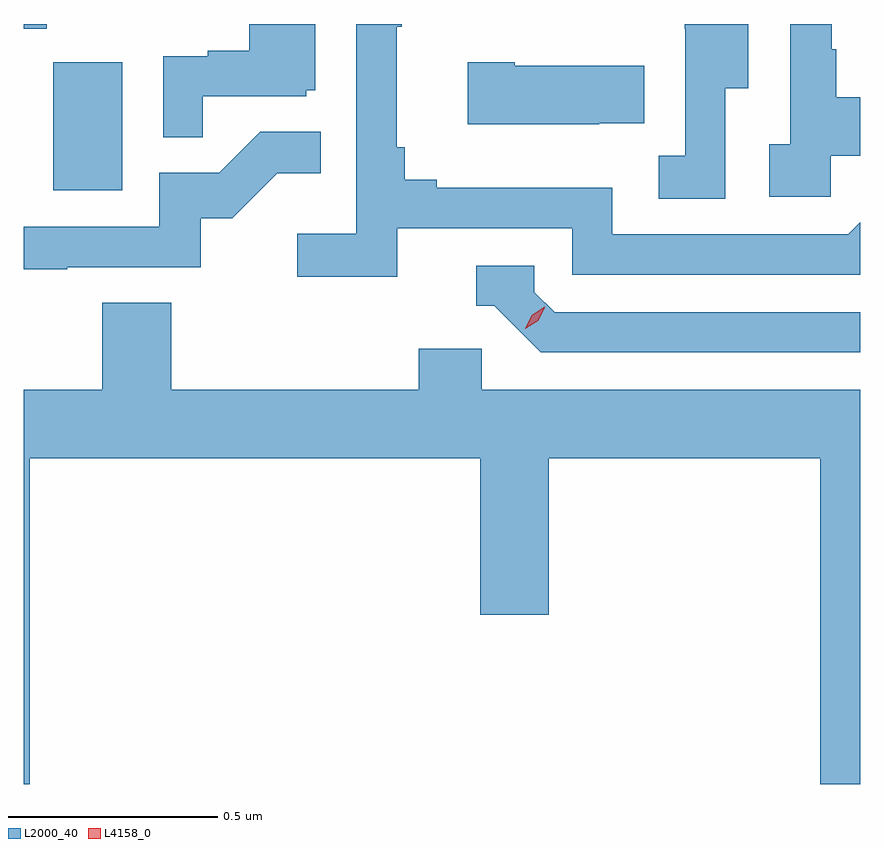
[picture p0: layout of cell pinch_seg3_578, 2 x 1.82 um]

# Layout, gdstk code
import gdstk
lib = gdstk.Library(unit=1e-6, precision=1e-09)
def R(c, l, rs):  # rectangles x0, y0, x1, y1
    for r in rs: c.add(gdstk.rectangle(r[:2], r[2:], *l))
def P(c, l, *ps):  # polygons
    for p in ps: c.add(gdstk.Polygon(p, *l))
L2000_40 = (2000, 40)
L4158_0 = (4158, 0)

pinch_seg3_578 = lib.new_cell('pinch_seg3_578')
R(pinch_seg3_578, L2000_40, [(1087.064,696.228,1087.228,696.535), (1086.993,696.615,1087.048,696.626)])
P(pinch_seg3_578, L2000_40, [(1087.421,696.453),(1087.668,696.453),(1087.668,696.468),(1087.69,696.468),(1087.69,696.626),(1087.532,696.626),(1087.532,696.562),(1087.433,696.562),(1087.433,696.549),(1087.326,696.549),(1087.326,696.355),(1087.421,696.355)],
  [(1088.922,696.311),(1088.993,696.311),(1088.993,696.451),(1088.935,696.451),(1088.935,696.566),(1088.925,696.566),(1088.925,696.626),(1088.826,696.626),(1088.826,696.338),(1088.775,696.338),(1088.775,696.213),(1088.922,696.213)],
  [(1087.886,696.138),(1088.304,696.138),(1088.304,696.027),(1088.993,696.027),(1088.993,696.152),(1088.964,696.123),(1088.4,696.123),(1088.4,696.235),(1087.981,696.235),(1087.981,696.254),(1087.904,696.254),(1087.904,696.331),(1087.885,696.331),(1087.885,696.619),(1087.897,696.619),(1087.897,696.626),(1087.788,696.626),(1087.788,696.124),(1087.647,696.124),(1087.647,696.022),(1087.886,696.022)],
  [(1088.67,696.472),(1088.725,696.472),(1088.725,696.626),(1088.573,696.626),(1088.573,696.615),(1088.574,696.615),(1088.574,696.311),(1088.511,696.311),(1088.511,696.208),(1088.67,696.208)],
  [(1088.369,696.389),(1088.477,696.389),(1088.477,696.526),(1088.167,696.526),(1088.167,696.534),(1088.055,696.534),(1088.055,696.386),(1088.369,696.386)],
  [(1087.097,696.045),(1087.416,696.045),(1087.416,696.162),(1087.492,696.162),(1087.599,696.269),(1087.703,696.269),(1087.703,696.368),(1087.559,696.368),(1087.461,696.27),(1087.317,696.27),(1087.317,696.141),(1086.993,696.141),(1086.993,696.04),(1087.097,696.04)],
  [(1088.993,695.937),(1088.262,695.937),(1088.214,695.985),(1088.214,696.048),(1088.075,696.048),(1088.075,695.952),(1088.118,695.952),(1088.229,695.841),(1088.993,695.841)],
  [(1087.007,695.588),(1088.084,695.588),(1088.084,695.214),(1088.248,695.214),(1088.248,695.588),(1088.897,695.588),(1088.897,694.809),(1088.993,694.809),(1088.993,695.752),(1088.088,695.752),(1088.088,695.85),(1087.937,695.85),(1087.937,695.752),(1087.346,695.752),(1087.346,695.96),(1087.181,695.96),(1087.181,695.752),(1086.993,695.752),(1086.993,694.809),(1087.007,694.809)])
P(pinch_seg3_578, L4158_0, [(1088.192,695.898),(1088.192,695.898),(1088.208,695.93),(1088.239,695.95),(1088.239,695.95),(1088.239,695.949),(1088.223,695.917),(1088.192,695.898)])

lib.write_gds('pinch_seg3_578.gds')
